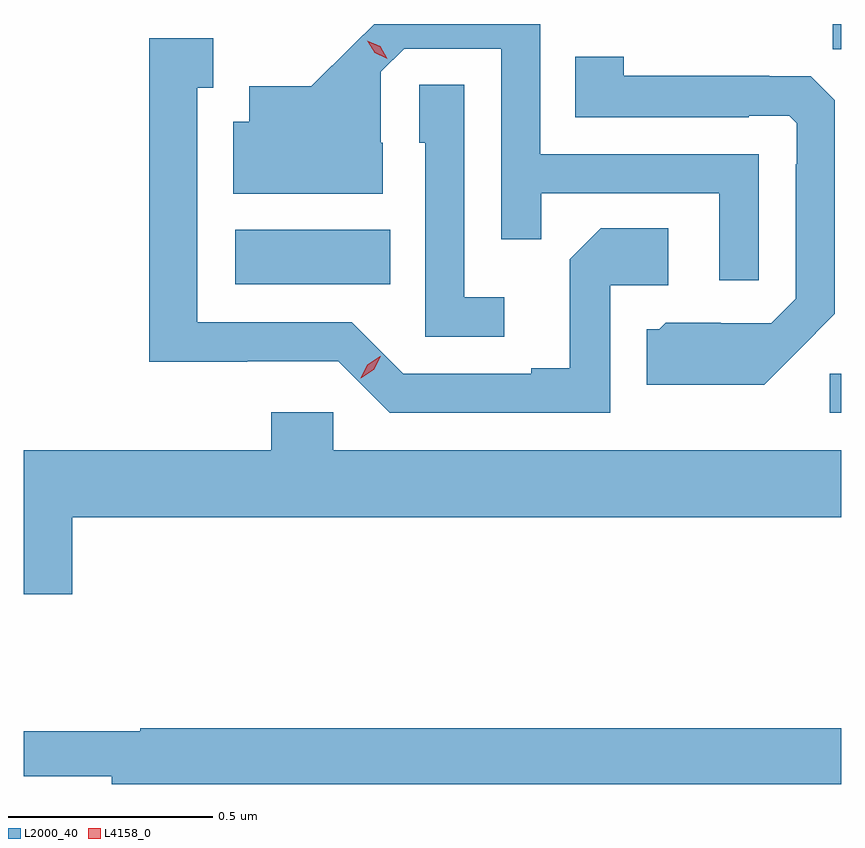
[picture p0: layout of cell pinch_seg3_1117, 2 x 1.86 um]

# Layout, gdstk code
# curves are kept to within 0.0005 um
import gdstk
lib = gdstk.Library(unit=1e-6, precision=1e-09)
def R(c, l, rs):  # rectangles x0, y0, x1, y1
    for r in rs: c.add(gdstk.rectangle(r[:2], r[2:], *l))
def P(c, l, *ps):  # polygons
    for p in ps: c.add(gdstk.Polygon(p, *l))
L2000_40 = (2000, 40)
L4158_0 = (4158, 0)

pinch_seg3_1117 = lib.new_cell('pinch_seg3_1117')
R(pinch_seg3_1117, L2000_40, [(334.857,710.496,334.885,710.592), (333.402,710.81,333.782,710.944), (334.864,711.385,334.885,711.447)])
P(pinch_seg3_1117, L2000_40, [(334.683,711.129),(334.149,711.129),(334.149,711.447),(333.743,711.447),(333.589,711.295),(333.437,711.295),(333.437,711.208),(333.398,711.208),(333.398,711.032),(333.763,711.032),(333.763,711.156),(333.759,711.156),(333.759,711.33),(333.816,711.387),(334.053,711.387),(334.053,710.92),(334.151,710.92),(334.151,711.033),(334.587,711.033),(334.587,710.82),(334.683,710.82)],
  [(334.32,710.808),(334.462,710.808),(334.462,710.948),(334.297,710.948),(334.221,710.872),(334.221,710.605),(334.127,710.605),(334.127,710.592),(333.813,710.592),(333.687,710.718),(333.31,710.718),(333.31,711.291),(333.349,711.291),(333.349,711.412),(333.192,711.412),(333.192,710.621),(333.432,710.621),(333.432,710.622),(333.654,710.622),(333.78,710.496),(334.32,710.496)],
  [(334.777,710.645),(334.869,710.738),(334.869,711.26),(334.81,711.319),(334.709,711.319),(334.709,711.32),(334.353,711.32),(334.353,711.367),(334.234,711.367),(334.234,711.219),(334.658,711.219),(334.658,711.222),(334.758,711.222),(334.776,711.204),(334.776,711.104),(334.773,711.104),(334.773,710.775),(334.713,710.715),(334.59,710.715),(334.59,710.716),(334.456,710.716),(334.44,710.7),(334.409,710.7),(334.409,710.564),(334.697,710.564)],
  [(334.06,710.779),(333.963,710.779),(333.963,711.299),(333.852,711.299),(333.852,711.156),(333.867,711.156),(333.867,710.682),(334.06,710.682)],
  [(333.004,710.24),(334.885,710.24),(334.885,710.404),(333.642,710.404),(333.642,710.497),(333.491,710.497),(333.491,710.404),(332.885,710.404),(332.885,710.052),(333.004,710.052)],
  [(334.885,709.724),(333.17,709.724),(333.17,709.717),(332.885,709.717),(332.885,709.607),(333.1,709.607),(333.1,709.588),(334.885,709.588)])
P(pinch_seg3_1117, L4158_0, [(333.774,711.362),(333.744,711.377),(333.726,711.406),(333.726,711.406),(333.726,711.406),(333.757,711.392),(333.774,711.362),(333.774,711.362)],
  [(333.709,710.581),(333.709,710.582),(333.726,710.614),(333.757,710.634),(333.758,710.634),(333.758,710.634),(333.741,710.601),(333.71,710.581)])

lib.write_gds('pinch_seg3_1117.gds')
